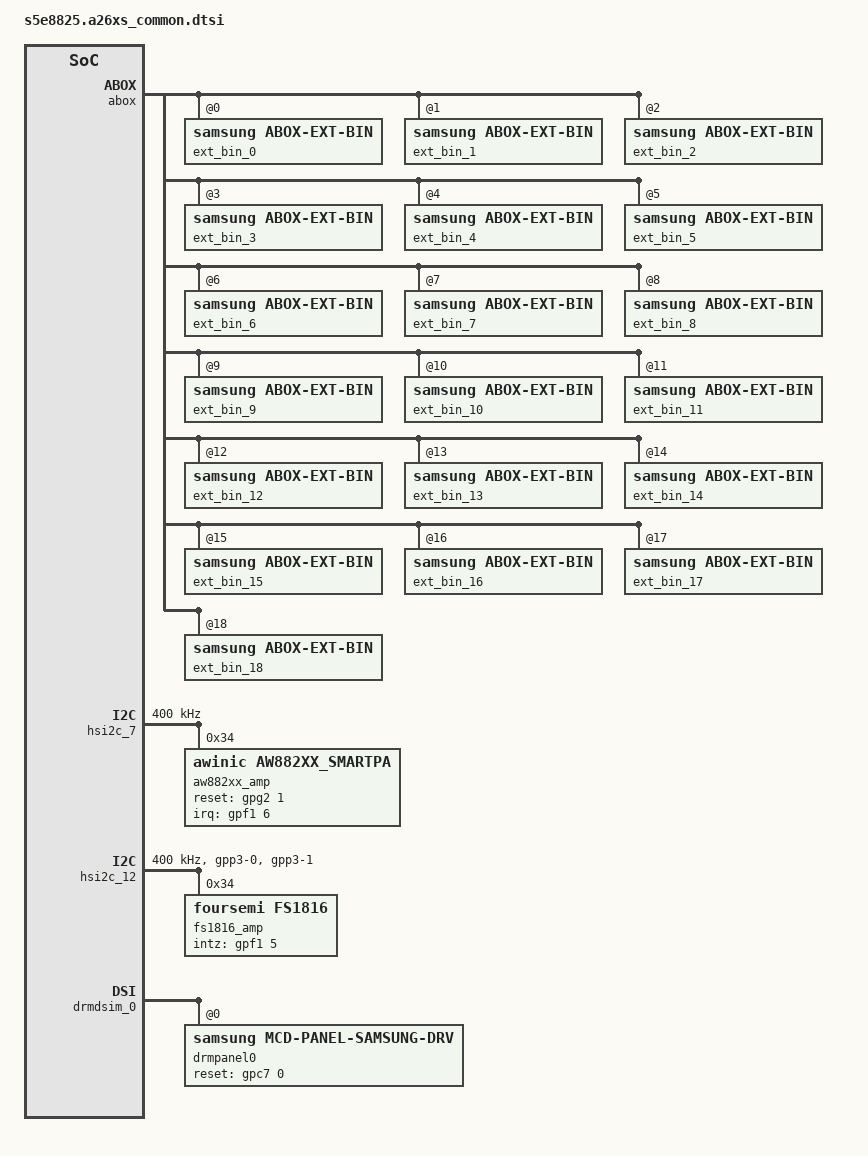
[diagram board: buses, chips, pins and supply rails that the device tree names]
/*
 * SAMSUNG S5E8825 SoC device tree source
 *
 * Copyright (c) 2020 Samsung Electronics Co., Ltd.
 *             http://www.samsung.com
 *
 * SAMSUNG S5E8825 SoC device nodes are listed in this file.
 * EXYNOS based board files can include this file and provide
 * values for board specfic bindings.
 *
 * This program is free software; you can redistribute it and/or modify
 * it under the terms of the GNU General Public License version 2 as
 * published by the Free Software Foundation.
 */

#include "../s5e8825.common.dtsi"
#include "../s5e8825-dsim_pll_timing.dtsi"
#include "../s5e8825_wakeup_cpu_allocator.dtsi"

#define BOARD_ID        0x0
#define BOARD_REV       0x0

/ {
	compatible = "samsung,s5e8825", "samsung,SMDK8825";
	board_id = <BOARD_ID>;
	board_rev = <BOARD_REV>;

	fragment@model {
		target-path = "/";
		__overlay__ {
			#address-cells = <2>;
			#size-cells = <1>;

			sec_usb_cb {
				compatible = "samsung,sec_usb_cb";
				status = "okay";
			};

			sec_usb_hook {
				compatible = "samsung,sec_usb_hook";
				status = "okay";
			};

			dummy_audio_codec: audio-codec-dummy {
				compatible = "snd-soc-dummy";
				#sound-dai-cells = <0>;
			};

			dummy_audio_cpu: audio-cpu-dummy {
				compatible = "samsung,dummy-cpu";
				#sound-dai-cells = <0>;
			};

			abox_synchronized_ipc_aw: abox_synchronized_ipc_aw {
				compatible = "samsung,abox-synchronized-ipc-aw";
				#sound-dai-cells = <1>;
				abox = <&abox>;
				status = "okay";
			};

			sec-audio-exynos {
				compatible = "samsung,audio-exynos";
				abox_dbg_size_min = <0x600000>;
				abox_slog_size_min = <0x0>;
				status = "okay";
			};

			sec-audio-sysfs {
				compatible = "samsung,audio-sysfs";
				status = "okay";
				audio,no-earjack;
				audio,num-amp = <1>;
			};

			sec-audio-debug {
				compatible = "samsung,audio-debug";
				status = "okay";
			};

			snd-debug-proc {
				compatible = "samsung,snd-debug-proc";
				status = "okay";
			};

			sound {
				compatible = "samsung,exynos8825-audio";

				samsung,routing =
					"PAD DPDM", "DMIC1",
					"PAD DPDM", "DMIC2",
					"BLUETOOTH SPK", "ABOX UAIF3 Playback",
					"ABOX UAIF3 Capture", "BLUETOOTH MIC",
					"USB SPK", "ABOX USB Playback",
					"ABOX USB Capture", "USB MIC",
					"FWD SPK", "ABOX FWD Playback",
					"ABOX FWD Capture", "FWD MIC",
					"VTS Virtual Output", "VTS Virtual Output Mux",
					"ABOX SPDY Capture", "VINPUT_FM";

				samsung,aux = <&abox_effect &abox_tplg>;

				rdma0 {
					cpu {
						sound-dai = <&abox_rdma_0 0>;
					};
					platform {
						sound-dai = <&abox_rdma_0 0>;
					};
				};
				rdma1 {
					cpu {
						sound-dai = <&abox_rdma_1 0>;
					};
					platform {
						sound-dai = <&abox_rdma_1 0>;
					};
				};
				rdma2 {
					cpu {
						sound-dai = <&abox_rdma_2 0>;
					};
					platform {
						sound-dai = <&abox_rdma_2 0>;
					};
				};
				rdma3 {
					cpu {
						sound-dai = <&abox_rdma_3 0>;
					};
					platform {
						sound-dai = <&abox_rdma_3 0>;
					};
				};
				rdma4 {
					cpu {
						sound-dai = <&abox_rdma_4 0>;
					};
					platform {
						sound-dai = <&abox_rdma_4 0>;
					};
				};
				rdma5 {
					cpu {
						sound-dai = <&abox_rdma_5 0>;
					};
					platform {
						sound-dai = <&abox_rdma_5 0>;
					};
				};
				rdma6 {
					cpu {
						sound-dai = <&abox_rdma_6 0>;
					};
					platform {
						sound-dai = <&abox_rdma_6 0>;
					};
				};
				rdma7 {
					cpu {
						sound-dai = <&abox_rdma_7 0>;
					};
					platform {
						sound-dai = <&abox_rdma_7 0>;
					};
				};
				rdma8 {
					cpu {
						sound-dai = <&abox_rdma_8 0>;
					};
					platform {
						sound-dai = <&abox_rdma_8 0>;
					};
				};
				rdma9 {
					cpu {
						sound-dai = <&abox_rdma_9 0>;
					};
					platform {
						sound-dai = <&abox_rdma_9 0>;
					};
				};
				rdma10 {
					cpu {
						sound-dai = <&abox_rdma_10 0>;
					};
					platform {
						sound-dai = <&abox_rdma_10 0>;
					};
				};
				rdma11 {
					cpu {
						sound-dai = <&abox_rdma_11 0>;
					};
					platform {
						sound-dai = <&abox_rdma_11 0>;
					};
				};
				wdma0 {
					cpu {
						sound-dai = <&abox_wdma_0 0>;
					};
					platform {
						sound-dai = <&abox_wdma_0 0>;
					};
				};
				wdma1 {
					cpu {
						sound-dai = <&abox_wdma_1 0>;
					};
					platform {
						sound-dai = <&abox_wdma_1 0>;
					};
				};
				wdma2 {
					cpu {
						sound-dai = <&abox_wdma_2 0>;
					};
					platform {
						sound-dai = <&abox_wdma_2 0>;
					};
				};
				wdma3 {
					cpu {
						sound-dai = <&abox_wdma_3 0>;
					};
					platform {
						sound-dai = <&abox_wdma_3 0>;
					};
				};
				wdma4 {
					cpu {
						sound-dai = <&abox_wdma_4 0>;
					};
					platform {
						sound-dai = <&abox_wdma_4 0>;
					};
				};
				wdma5 {
					cpu {
						sound-dai = <&abox_wdma_5 0>;
					};
					platform {
						sound-dai = <&abox_wdma_5 0>;
					};
				};
				wdma6 {
					cpu {
						sound-dai = <&abox_wdma_6 0>;
					};
					platform {
						sound-dai = <&abox_wdma_6 0>;
					};
				};
				wdma7 {
					cpu {
						sound-dai = <&abox_wdma_7 0>;
					};
					platform {
						sound-dai = <&abox_wdma_7 0>;
					};
				};
				wdma8 {
					cpu {
						sound-dai = <&abox_wdma_8 0>;
					};
					platform {
						sound-dai = <&abox_wdma_8 0>;
					};
				};
				wdma9 {
					cpu {
						sound-dai = <&abox_wdma_9 0>;
					};
					platform {
						sound-dai = <&abox_wdma_9 0>;
					};
				};
				wdma10 {
					cpu {
						sound-dai = <&abox_wdma_10 0>;
					};
					platform {
						sound-dai = <&abox_wdma_10 0>;
					};
				};
				wdma11 {
					cpu {
						sound-dai = <&abox_wdma_11 0>;
					};
					platform {
						sound-dai = <&abox_wdma_11 0>;
					};
				};
				vts0 {
					cpu {
						sound-dai = <&vts 0>;
					};
					platform {
						sound-dai = <&vts_dma0>;
					};
				};
				vts1 {
					cpu {
						sound-dai = <&vts 1>;
					};
					platform {
						sound-dai = <&vts_dma1>;
					};
				};
/*
				dp0_audio {
					cpu {
						sound-dai = <&displayport_adma 0>;
					};
					platform {
						sound-dai = <&dp_dma0>;
					};
				};
				dp1_audio {
					cpu {
						sound-dai = <&displayport_adma 1 >;
					};
					platform {
						sound-dai = <&dp_dma1>;
					};
				};
*/
				dual0 {
					cpu {
						sound-dai = <&abox_dual_0>;
					};
					platform {
						sound-dai = <&abox_dual_0>;
					};
				};
				dual1 {
					cpu {
						sound-dai = <&abox_dual_1>;
					};
					platform {
						sound-dai = <&abox_dual_1>;
					};
				};
				dual2 {
					cpu {
						sound-dai = <&abox_dual_2>;
					};
					platform {
						sound-dai = <&abox_dual_2>;
					};
				};
				dual3 {
					cpu {
						sound-dai = <&abox_dual_3>;
					};
					platform {
						sound-dai = <&abox_dual_3>;
					};
				};
				dual4 {
					cpu {
						sound-dai = <&abox_dual_4>;
					};
					platform {
						sound-dai = <&abox_dual_4>;
					};
				};
				dual5 {
					cpu {
						sound-dai = <&abox_dual_5>;
					};
					platform {
						sound-dai = <&abox_dual_5>;
					};
				};
				dual6 {
					cpu {
						sound-dai = <&abox_dual_6>;
					};
					platform {
						sound-dai = <&abox_dual_6>;
					};
				};
				dual7 {
					cpu {
						sound-dai = <&abox_dual_7>;
					};
					platform {
						sound-dai = <&abox_dual_7>;
					};
				};
				dual8 {
					cpu {
						sound-dai = <&abox_dual_8>;
					};
					platform {
						sound-dai = <&abox_dual_8>;
					};
				};
				dual9 {
					cpu {
						sound-dai = <&abox_dual_9>;
					};
					platform {
						sound-dai = <&abox_dual_9>;
					};
				};
				dual10 {
					cpu {
						sound-dai = <&abox_dual_10>;
					};
					platform {
						sound-dai = <&abox_dual_10>;
					};
				};
				dual11 {
					cpu {
						sound-dai = <&abox_dual_11>;
					};
					platform {
						sound-dai = <&abox_dual_11>;
					};
				};
				ddma0 {
					cpu {
						sound-dai = <&abox_ddma_0>;
					};
					platform {
						sound-dai = <&abox_ddma_0>;
					};
				};
				ddma1 {
					cpu {
						sound-dai = <&abox_ddma_1>;
					};
					platform {
						sound-dai = <&abox_ddma_1>;
					};
				};
				ddma2 {
					cpu {
						sound-dai = <&abox_ddma_2>;
					};
					platform {
						sound-dai = <&abox_ddma_2>;
					};
				};
				ddma3 {
					cpu {
						sound-dai = <&abox_ddma_3>;
					};
					platform {
						sound-dai = <&abox_ddma_3>;
					};
				};
				ddma4 {
					cpu {
						sound-dai = <&abox_ddma_4>;
					};
					platform {
						sound-dai = <&abox_ddma_4>;
					};
				};
				ddma5 {
					cpu {
						sound-dai = <&abox_ddma_5>;
					};
					platform {
						sound-dai = <&abox_ddma_5>;
					};
				};
				uaif0 {
					format = "i2s";
					cpu {
						sound-dai = <&abox_uaif_0>;
					};
				};
				uaif1 {
					format = "i2s";
					cpu {
						sound-dai = <&abox_uaif_1>;
					};
					codec {
						sound-dai = <&aw882xx_amp 0 &fs1816_amp 0>;
					};
				};
				uaif2 {
					format = "dsp_a";
					cpu {
						sound-dai = <&abox_uaif_2>;
					};
				};
				uaif3 {
					format = "i2s";
					bitclock-master;
					frame-master;
					cpu {
						sound-dai = <&abox_uaif_3>;
					};
				};
				uaif4 {
					format = "dsp_a";
					cpu {
						sound-dai = <&abox_uaif_4>;
					};
				};
				uaif5 {
					format = "dsp_a";
					cpu {
						sound-dai = <&abox_uaif_5>;
					};
				};
				uaif6 {
					format = "dsp_a";
					bitclock-master;
					bitclock-inversion;
					frame-master;

					cpu {
						sound-dai = <&abox_uaif_6>;
					};
					codec {
						sound-dai = <&vts_s_lif 0>;
					};
				};
				dsif0 {
					format = "pdm";
					cpu {
						sound-dai = <&abox_dsif>;
					};
				};
				spdy {
					cpu {
						sound-dai = <&abox_spdy>;
					};
				};
				udma_rd0 {
					cpu {
						sound-dai = <&abox_udma_rd_0>;
					};
				};
				udma_rd1 {
					cpu {
						sound-dai = <&abox_udma_rd_1>;
					};
				};
				udma_wr0 {
					cpu {
						sound-dai = <&abox_udma_wr_0>;
					};
				};
				udma_wr1 {
					cpu {
						sound-dai = <&abox_udma_wr_1>;
					};
				};
				udma_wr_dual0 {
					cpu {
						sound-dai = <&abox_udma_wr_dual_0>;
					};
				};
				udma_wr_dual1 {
					cpu {
						sound-dai = <&abox_udma_wr_dual_1>;
					};
				};
				udma_wr_dbg0 {
					cpu {
						sound-dai = <&abox_udma_wr_debug_0>;
					};
				};
				rdma0_be {
					cpu {
						sound-dai = <&abox_rdma_0 1>;
					};
					platform {
						sound-dai = <&abox_rdma_0 1>;
					};
				};
				rdma1_be {
					cpu {
						sound-dai = <&abox_rdma_1 1>;
					};
					platform {
						sound-dai = <&abox_rdma_1 1>;
					};
				};
				rdma2_be {
					cpu {
						sound-dai = <&abox_rdma_2 1>;
					};
					platform {
						sound-dai = <&abox_rdma_2 1>;
					};
				};
				rdma3_be {
					cpu {
						sound-dai = <&abox_rdma_3 1>;
					};
					platform {
						sound-dai = <&abox_rdma_3 1>;
					};
				};
				rdma4_be {
					cpu {
						sound-dai = <&abox_rdma_4 1>;
					};
					platform {
						sound-dai = <&abox_rdma_4 1>;
					};
				};
				rdma5_be {
					cpu {
						sound-dai = <&abox_rdma_5 1>;
					};
					platform {
						sound-dai = <&abox_rdma_5 1>;
					};
				};
				rdma6_be {
					cpu {
						sound-dai = <&abox_rdma_6 1>;
					};
					platform {
						sound-dai = <&abox_rdma_6 1>;
					};
				};
				rdma7_be {
					cpu {
						sound-dai = <&abox_rdma_7 1>;
					};
					platform {
						sound-dai = <&abox_rdma_7 1>;
					};
				};
				rdma8_be {
					cpu {
						sound-dai = <&abox_rdma_8 1>;
					};
					platform {
						sound-dai = <&abox_rdma_8 1>;
					};
				};
				rdma9_be {
					cpu {
						sound-dai = <&abox_rdma_9 1>;
					};
					platform {
						sound-dai = <&abox_rdma_9 1>;
					};
				};
				rdma10_be {
					cpu {
						sound-dai = <&abox_rdma_10 1>;
					};
					platform {
						sound-dai = <&abox_rdma_10 1>;
					};
				};
				rdma11_be {
					cpu {
						sound-dai = <&abox_rdma_11 1>;
					};
					platform {
						sound-dai = <&abox_rdma_11 1>;
					};
				};
				wdma0_be {
					cpu {
						sound-dai = <&abox_wdma_0 1>;
					};
					platform {
						sound-dai = <&abox_wdma_0 1>;
					};
				};
				wdma1_be {
					cpu {
						sound-dai = <&abox_wdma_1 1>;
					};
					platform {
						sound-dai = <&abox_wdma_1 1>;
					};
				};
				wdma2_be {
					cpu {
						sound-dai = <&abox_wdma_2 1>;
					};
					platform {
						sound-dai = <&abox_wdma_2 1>;
					};
				};
				wdma3_be {
					cpu {
						sound-dai = <&abox_wdma_3 1>;
					};
					platform {
						sound-dai = <&abox_wdma_3 1>;
					};
				};
				wdma4_be {
					cpu {
						sound-dai = <&abox_wdma_4 1>;
					};
					platform {
						sound-dai = <&abox_wdma_4 1>;
					};
				};
				wdma5_be {
					cpu {
						sound-dai = <&abox_wdma_5 1>;
					};
					platform {
						sound-dai = <&abox_wdma_5 1>;
					};
				};
				wdma6_be {
					cpu {
						sound-dai = <&abox_wdma_6 1>;
					};
					platform {
						sound-dai = <&abox_wdma_6 1>;
					};
				};
				wdma7_be {
					cpu {
						sound-dai = <&abox_wdma_7 1>;
					};
					platform {
						sound-dai = <&abox_wdma_7 1>;
					};
				};
				wdma8_be {
					cpu {
						sound-dai = <&abox_wdma_8 1>;
					};
					platform {
						sound-dai = <&abox_wdma_8 1>;
					};
				};
				wdma9_be {
					cpu {
						sound-dai = <&abox_wdma_9 1>;
					};
					platform {
						sound-dai = <&abox_wdma_9 1>;
					};
				};
				wdma10_be {
					cpu {
						sound-dai = <&abox_wdma_10 1>;
					};
					platform {
						sound-dai = <&abox_wdma_10 1>;
					};
				};
				wdma11_be {
					cpu {
						sound-dai = <&abox_wdma_11 1>;
					};
					platform {
						sound-dai = <&abox_wdma_11 1>;
					};
				};
				usb {
					cpu {
						sound-dai = <&abox 0>;
					};
				};
				fwd {
					cpu {
						sound-dai = <&abox 1>;
					};
				};
			}; /* end of sound */

			fm@14E90000 {
				status = "disabled";
			};
		};
	};
};

&abox {
	ext_bin_0: ext-bin@0 {
		compatible = "samsung,abox-ext-bin";
		samsung,name = "dax_param.bin";
		samsung,area = <1>;
		samsung,offset = <0x510000>;
		samsung,changable;
	};

	ext_bin_1: ext-bin@1 {
		compatible = "samsung,abox-ext-bin";
		samsung,name = "AP_AUDIO_SLSI.bin";
		samsung,area = <1>;
		samsung,offset = <0x52e000>;
		samsung,changable;
	};

	ext_bin_2: ext-bin@2 {
		compatible = "samsung,abox-ext-bin";
		samsung,name = "APBargeIn_AUDIO_SLSI.bin";
		samsung,area = <1>;
		samsung,offset = <0x5da800>;
		samsung,changable;
	};

	ext_bin_3: ext-bin@3 {
		compatible = "samsung,abox-ext-bin";
		samsung,name = "APBiBF_AUDIO_SLSI.bin";
		samsung,area = <1>;
		samsung,offset = <0x5dd800>;
		samsung,changable;
	};

	ext_bin_4: ext-bin@4 {
		compatible = "samsung,abox-ext-bin";
		samsung,name = "APDV_AUDIO_SLSI.bin";
		samsung,area = <1>;
		samsung,offset = <0x5de800>;
		samsung,changable;
	};

	ext_bin_5: ext-bin@5 {
		compatible = "samsung,abox-ext-bin";
		samsung,name = "SoundBoosterParam.bin";
		samsung,area = <1>;
		samsung,offset = <0x65e800>;
		samsung,changable;
	};

	ext_bin_6: ext-bin@6 {
		compatible = "samsung,abox-ext-bin";
		samsung,name = "spkamp_param_aw882xx.bin";
		samsung,area = <1>;
		samsung,offset = <0x664800>;
		samsung,changable;
	};

	ext_bin_7: ext-bin@7 {
		compatible = "samsung,abox-ext-bin";
		samsung,name = "rxse.bin";
		samsung,area = <1>;
		samsung,offset = <0x6c5000>;
	};

	ext_bin_8: ext-bin@8 {
		compatible = "samsung,abox-ext-bin";
		samsung,name = "avsyncmix.bin";
		samsung,area = <1>;
		samsung,offset = <0x7b7800>;
	};

	ext_bin_9: ext-bin@9 {
		compatible = "samsung,abox-ext-bin";
		samsung,name = "txse1.bin";
		samsung,area = <1>;
		samsung,offset = <0x1800000>;
	};

	ext_bin_10: ext-bin@10 {
		compatible = "samsung,abox-ext-bin";
		samsung,name = "txse2.bin";
		samsung,area = <1>;
		samsung,offset = <0x1e00000>;
	};

	ext_bin_11: ext-bin@11 {
		compatible = "samsung,abox-ext-bin";
		samsung,name = "bidirmic.bin";
		samsung,area = <1>;
		samsung,offset = <0x1e72800>;
	};

	ext_bin_12: ext-bin@12 {
		compatible = "samsung,abox-ext-bin";
		samsung,name = "volumemonitor.bin";
		samsung,area = <1>;
		samsung,offset = <0x1f27800>;
	};

	ext_bin_13: ext-bin@13 {
		compatible = "samsung,abox-ext-bin";
		samsung,name = "sb_others.bin";
		samsung,area = <1>;
		samsung,offset = <0x1f40800>;
	};

	ext_bin_14: ext-bin@14 {
		compatible = "samsung,abox-ext-bin";
		samsung,name = "listenbackeffect.bin";
		samsung,area = <1>;
		samsung,offset = <0x206c800>;
	};

	ext_bin_15: ext-bin@15 {
		compatible = "samsung,abox-ext-bin";
		samsung,name = "a2dpcom.bin";
		samsung,area = <1>;
		samsung,offset = <0x20d0800>;
	};

	ext_bin_16: ext-bin@16 {
		compatible = "samsung,abox-ext-bin";
		samsung,name = "dolby.bin";
		samsung,area = <1>;
		samsung,offset = <0x2c0000>;
	};

	ext_bin_17: ext-bin@17 {
		compatible = "samsung,abox-ext-bin";
		samsung,name = "spkamp.bin";
		samsung,area = <1>;
		samsung,offset = <0x1480000>;
	};

	ext_bin_18: ext-bin@18 {
		compatible = "samsung,abox-ext-bin";
		samsung,name = "sb_music.bin";
		samsung,area = <1>;
		samsung,offset = <0x2250800>;
	};
};

&abox_uaif_0 {
	pinctrl-names;
	pinctrl-0;
	pinctrl-1;
};

&abox_uaif_2 {
	pinctrl-names;
};

&abox_uaif_3 {
	pinctrl-names;
};

&vts {
	pinctrl-names = "dmic0_default",
		"dmic1_default",
		"dmic2_default",
		"amic0_default",
		"amic1_default",
		"amic2_default",
		"dmic0_idle",
		"dmic1_idle",
		"dmic2_idle",
		"default";
	pinctrl-0 = <&dmic_bus_clk0 &dmic_pdm0_bus &dmic_en>;
	pinctrl-1 = <&dmic_bus_clk2 &dmic_pdm2_bus &dmic_en>;
	pinctrl-2 = <&dmic_bus_clk2 &dmic_pdm2_bus>;
	pinctrl-3 = <&dmic_bus_clk0 &amic_pdm0_bus>;
	pinctrl-4 = <&dmic_bus_clk1 &amic_pdm1_bus>;
	pinctrl-5 = <&dmic_bus_clk2 &amic_pdm2_bus>;
	pinctrl-6 = <&dmic_bus_clk0_idle &dmic_pdm0_idle &dmic_en_idle>;
	pinctrl-7 = <&dmic_bus_clk2_idle &dmic_pdm2_idle &dmic_en_idle>;
	pinctrl-8 = <&dmic_bus_clk2_idle &dmic_pdm2_idle>;
	pinctrl-9 = <>;
};

&pinctrl_6 {
	spk_amp_en: spk-amp-en {
		samsung,pins ="gpg2-1";
		samsung,pin-function = <1>;
		samsung,pin-val = <1>;
		samsung,pin-pud = <0>;
		samsung,pin-con-pdn = <3>;
		samsung,pin-pud-pdn = <0>;
	};

	hsi2c12_amp_bus: hsi2c12-amp-bus {
		samsung,pins = "gpp3-0", "gpp3-1";
		samsung,pin-function = <2>;
		samsung,pin-pud = <3>;
		samsung,pin-drv = <0>;
		samsung,pin-con-pdn = <3>;
		samsung,pin-pud-pdn = <3>;
	};

	dmic_en: dmic-en {
		samsung,pins = "gpp3-5";
		samsung,pin-function = <1>;
		samsung,pin-pud = <0>;
		samsung,pin-val = <1>;
	};

	dmic_en_idle: dmic-en-idle {
		samsung,pins = "gpp3-5";
		samsung,pin-function = <1>;
		samsung,pin-pud = <0>;
		samsung,pin-val = <0>;
	};
};

&pinctrl_4 {
	rcv_amp_int: rcv-amp-int {
		samsung,pins ="gpf1-5";
		samsung,pin-function = <0xf>;
		samsung,pin-pud = <0>;
		samsung,pin-con-pdn = <3>;
		samsung,pin-pud-pdn = <0>;
	};

	spk_amp_int: spk-amp-int {
		samsung,pins ="gpf1-6";
		samsung,pin-function = <0xf>;
		samsung,pin-pud = <3>;
		samsung,pin-con-pdn = <3>;
		samsung,pin-pud-pdn = <3>;
	};
};

&hsi2c_7 {
	#address-cells = <1>;
	#size-cells = <0>;
	status = "okay";
	clock-frequency = <400000>;

	aw882xx_amp: aw882xx_smartpa@34 {
		compatible = "awinic,aw882xx_smartpa";
		#sound-dai-cells = <1>;
		reg = <0x34>;
		pinctrl-names = "default";
		pinctrl-0 = <&spk_amp_en &spk_amp_int>;
		reset-gpio = <&gpg2 1 0>;
		irq-gpio = <&gpf1 6 0>;
		rename-flag = <1>;
		sound-channel = <0>;
		num-amp = <1>;
		sync-load = <1>;
		sync-flag = <0>;
		aw-cali-mode = "aw_cali_all";
		status = "okay";
	};
};

&hsi2c_12 {
	#address-cells = <1>;
	#size-cells = <0>;
	status = "okay";
	clock-frequency = <400000>;
	pinctrl-0 = <&hsi2c12_amp_bus>;

	fs1816_amp: fs1816@34 {
		compatible = "foursemi,fs1816";
		#sound-dai-cells = <1>;
		reg = <0x34>;
		pinctrl-names = "default";
		pinctrl-0 = <&rcv_amp_int>;
		intz-gpios = <&gpf1 5 0>;
		fs,rx_channel = <3>; /* MonoMix */
		fs,rx_volume = <991>;
		status = "okay";
	};
};

/* VIDEO MODE dt overlay START */
&drmdecon0{
		/* 0: video mode, 1: MIPI command mode 2: DP command mode */
		op_mode = <0>;
		partial-update = <0>;
		hibernation = <0>;
		samsung,iommu-identity-map = <0x0 0xFA100000  0x01400000>;
};

&reserved_memory{
	fb_handover: bootloader_fb {
		compatible = "exynos,fb_handover";
		reg = <0x0 0xFA200000 0x009E4000>; /* 1080 * 2400 * 4 =  0x009EBB00 */
	};
};

&drmdsim_0 {
	#address-cells = <1>;
	#size-cells = <0>;

	hs_pll_timing = <&dsim_hs_pll_timing>;

	/* Required only for video mode */
	memory-region = <&fb_handover>;

	drmpanel0: drmpanel {
		compatible = "samsung,mcd-panel-samsung-drv";
		/* reset, power */
		reset-gpios = <&gpc7 0 GPIO_ACTIVE_HIGH>;
		reg = <0>;
	};
};
/* VIDEO MODE dt overlay END */

&dwmmc_2 {
	card-detect-invert;
	sec-sd-slot-type = <3>;
};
